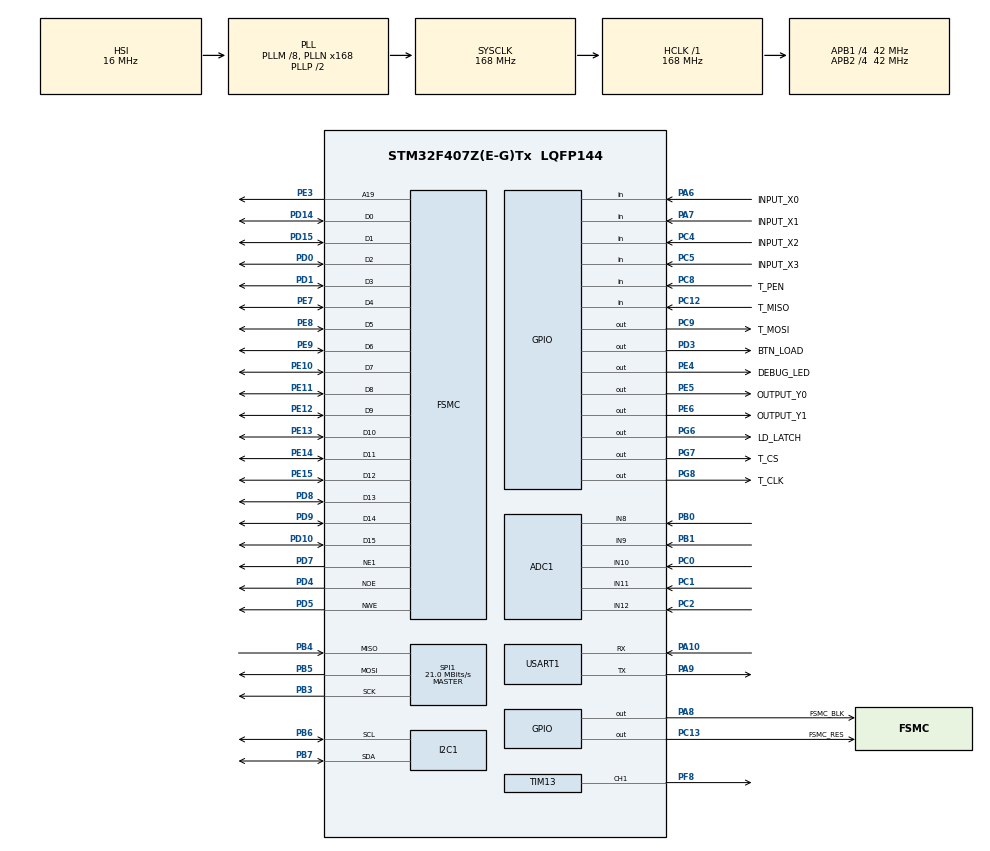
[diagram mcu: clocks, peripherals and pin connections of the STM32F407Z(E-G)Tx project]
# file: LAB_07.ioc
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ADC1.Channel-0\#ChannelRegularConversion=ADC_CHANNEL_8
ADC1.Channel-1\#ChannelRegularConversion=ADC_CHANNEL_9
ADC1.Channel-2\#ChannelRegularConversion=ADC_CHANNEL_10
ADC1.Channel-3\#ChannelRegularConversion=ADC_CHANNEL_11
ADC1.Channel-4\#ChannelRegularConversion=ADC_CHANNEL_12
ADC1.NbrOfConversion=5
ADC1.NbrOfConversionFlag=1
ADC1.Rank-0\#ChannelRegularConversion=1
ADC1.Rank-1\#ChannelRegularConversion=2
ADC1.Rank-2\#ChannelRegularConversion=3
ADC1.Rank-3\#ChannelRegularConversion=4
ADC1.Rank-4\#ChannelRegularConversion=5
ADC1.SamplingTime-0\#ChannelRegularConversion=ADC_SAMPLETIME_3CYCLES
ADC1.SamplingTime-1\#ChannelRegularConversion=ADC_SAMPLETIME_3CYCLES
ADC1.SamplingTime-2\#ChannelRegularConversion=ADC_SAMPLETIME_3CYCLES
ADC1.SamplingTime-3\#ChannelRegularConversion=ADC_SAMPLETIME_3CYCLES
ADC1.SamplingTime-4\#ChannelRegularConversion=ADC_SAMPLETIME_3CYCLES
ADC1.ScanConvMode=ENABLE
ADC1.master=1
Dma.ADC1.0.Direction=DMA_PERIPH_TO_MEMORY
Dma.ADC1.0.FIFOMode=DMA_FIFOMODE_DISABLE
Dma.ADC1.0.Instance=DMA2_Stream0
Dma.ADC1.0.MemDataAlignment=DMA_MDATAALIGN_HALFWORD
Dma.ADC1.0.MemInc=DMA_MINC_ENABLE
Dma.ADC1.0.Mode=DMA_CIRCULAR
Dma.ADC1.0.PeriphDataAlignment=DMA_PDATAALIGN_HALFWORD
Dma.ADC1.0.PeriphInc=DMA_PINC_DISABLE
Dma.ADC1.0.Priority=DMA_PRIORITY_LOW
Dma.Request0=ADC1
FSMC.AddressSetupTime1=0xf
FSMC.BusTurnAroundDuration1=0
FSMC.DataSetupTime1=60
FSMC.ExtendedAddressSetupTime1=8
FSMC.ExtendedBusTurnAroundDuration1=0
FSMC.ExtendedDataSetupTime1=9
FSMC.ExtendedMode1=FSMC_EXTENDED_MODE_ENABLE
Mcu.Family=STM32F4
Mcu.Name=STM32F407Z(E-G)Tx
Mcu.Package=LQFP144
NVIC.DMA2_Stream0_IRQn=true\:0\:0\:false\:false\:true\:false\:true
NVIC.PriorityGroup=NVIC_PRIORITYGROUP_4
NVIC.TIM2_IRQn=true\:0\:0\:false\:false\:true\:true\:true
NVIC.USART1_IRQn=true\:0\:0\:false\:false\:true\:true\:true
PA10.Mode=Asynchronous
PA10.Signal=USART1_RX
PA13.Mode=Serial_Wire
PA13.Signal=SYS_JTMS-SWDIO
PA14.Mode=Serial_Wire
PA14.Signal=SYS_JTCK-SWCLK
PA6.GPIO_Label=INPUT_X0
PA6.Signal=GPIO_Input
PA7.GPIO_Label=INPUT_X1
PA7.Signal=GPIO_Input
PA8.GPIO_Label=FSMC_BLK
PA8.Signal=GPIO_Output
PA9.Mode=Asynchronous
PA9.Signal=USART1_TX
PB0.Signal=ADCx_IN8
PB1.Signal=ADCx_IN9
PB3.Mode=Full_Duplex_Master
PB3.Signal=SPI1_SCK
PB4.Mode=Full_Duplex_Master
PB4.Signal=SPI1_MISO
PB5.Mode=Full_Duplex_Master
PB5.Signal=SPI1_MOSI
PB6.Mode=I2C
PB6.Signal=I2C1_SCL
PB7.Mode=I2C
PB7.Signal=I2C1_SDA
PC0.Signal=ADCx_IN10
PC1.Signal=ADCx_IN11
PC12.GPIO_Label=T_MISO
PC12.GPIO_PuPd=GPIO_PULLUP
PC12.Signal=GPIO_Input
PC13-ANTI_TAMP.GPIO_Label=FSMC_RES
PC13-ANTI_TAMP.Signal=GPIO_Output
PC2.Signal=ADCx_IN12
PC4.GPIO_Label=INPUT_X2
PC4.Signal=GPIO_Input
PC5.GPIO_Label=INPUT_X3
PC5.Signal=GPIO_Input
PC8.GPIO_Label=T_PEN
PC8.GPIO_PuPd=GPIO_PULLUP
PC8.Signal=GPIO_Input
PC9.GPIO_Label=T_MOSI
PC9.Signal=GPIO_Output
PD0.Signal=FSMC_D2_DA2
PD1.Signal=FSMC_D3_DA3
PD10.Signal=FSMC_D15_DA15
PD14.Signal=FSMC_D0_DA0
PD15.Signal=FSMC_D1_DA1
PD3.GPIO_Label=BTN_LOAD
PD3.Signal=GPIO_Output
PD4.Signal=FSMC_NOE
PD5.Signal=FSMC_NWE
PD7.Mode=NorPsramChipSelect1_1
PD7.Signal=FSMC_NE1
PD8.Signal=FSMC_D13_DA13
PD9.Signal=FSMC_D14_DA14
PE10.Signal=FSMC_D7_DA7
PE11.Signal=FSMC_D8_DA8
PE12.Signal=FSMC_D9_DA9
PE13.Signal=FSMC_D10_DA10
PE14.Signal=FSMC_D11_DA11
PE15.Signal=FSMC_D12_DA12
PE3.Signal=FSMC_A19
PE4.GPIO_Label=DEBUG_LED
PE4.Signal=GPIO_Output
PE5.GPIO_Label=OUTPUT_Y0
PE5.Signal=GPIO_Output
PE6.GPIO_Label=OUTPUT_Y1
PE6.Signal=GPIO_Output
PE7.Signal=FSMC_D4_DA4
PE8.Signal=FSMC_D5_DA5
PE9.Signal=FSMC_D6_DA6
PF8.Signal=S_TIM13_CH1
PG6.GPIO_Label=LD_LATCH
PG6.Signal=GPIO_Output
PG7.GPIO_Label=T_CS
PG7.Signal=GPIO_Output
PG8.GPIO_Label=T_CLK
PG8.Signal=GPIO_Output
PH0-OSC_IN.Mode=HSE-External-Oscillator
PH0-OSC_IN.Signal=RCC_OSC_IN
PH1-OSC_OUT.Mode=HSE-External-Oscillator
PH1-OSC_OUT.Signal=RCC_OSC_OUT
ProjectManager.HeapSize=0x200
ProjectManager.StackSize=0x400
ProjectManager.TargetToolchain=STM32CubeIDE
RCC.48MHZClocksFreq_Value=84000000
RCC.AHBFreq_Value=168000000
RCC.APB1CLKDivider=RCC_HCLK_DIV4
RCC.APB1Freq_Value=42000000
RCC.APB1TimFreq_Value=84000000
RCC.APB2CLKDivider=RCC_HCLK_DIV4
RCC.APB2Freq_Value=42000000
RCC.APB2TimFreq_Value=84000000
RCC.CortexFreq_Value=168000000
RCC.HCLKFreq_Value=168000000
RCC.HSE_VALUE=8000000
RCC.HSI_VALUE=16000000
RCC.LSE_VALUE=32768
RCC.PLLM=8
RCC.PLLN=168
RCC.SYSCLKFreq_VALUE=168000000
RCC.SYSCLKSource=RCC_SYSCLKSOURCE_PLLCLK
RCC.VCOOutputFreq_Value=336000000
SH.ADCx_IN10.0=ADC1_IN10,IN10
SH.ADCx_IN11.0=ADC1_IN11,IN11
SH.ADCx_IN12.0=ADC1_IN12,IN12
SH.ADCx_IN8.0=ADC1_IN8,IN8
SH.ADCx_IN9.0=ADC1_IN9,IN9
SH.FSMC_A19.0=FSMC_A19,A19_1
SH.FSMC_D0_DA0.0=FSMC_D0,16b-d1
SH.FSMC_D10_DA10.0=FSMC_D10,16b-d1
SH.FSMC_D11_DA11.0=FSMC_D11,16b-d1
SH.FSMC_D12_DA12.0=FSMC_D12,16b-d1
SH.FSMC_D13_DA13.0=FSMC_D13,16b-d1
SH.FSMC_D14_DA14.0=FSMC_D14,16b-d1
SH.FSMC_D15_DA15.0=FSMC_D15,16b-d1
SH.FSMC_D1_DA1.0=FSMC_D1,16b-d1
SH.FSMC_D2_DA2.0=FSMC_D2,16b-d1
SH.FSMC_D3_DA3.0=FSMC_D3,16b-d1
SH.FSMC_D4_DA4.0=FSMC_D4,16b-d1
SH.FSMC_D5_DA5.0=FSMC_D5,16b-d1
SH.FSMC_D6_DA6.0=FSMC_D6,16b-d1
SH.FSMC_D7_DA7.0=FSMC_D7,16b-d1
SH.FSMC_D8_DA8.0=FSMC_D8,16b-d1
SH.FSMC_D9_DA9.0=FSMC_D9,16b-d1
SH.FSMC_NOE.0=FSMC_NOE,Lcd1
SH.FSMC_NWE.0=FSMC_NWE,Lcd1
SH.S_TIM13_CH1.0=TIM13_CH1,PWM Generation1 CH1
SPI1.CalculateBaudRate=21.0 MBits/s
SPI1.Direction=SPI_DIRECTION_2LINES
SPI1.Mode=SPI_MODE_MASTER
SPI1.VirtualType=VM_MASTER
TIM1.Prescaler=84-1
TIM13.Channel=TIM_CHANNEL_1
TIM13.Period=100-1
TIM13.Prescaler=840-1
TIM2.Period=100-1
TIM2.Prescaler=840-1
USART1.VirtualMode=VM_ASYNC
VP_TIM13_VS_ClockSourceINT.Mode=Enable_Timer
VP_TIM1_VS_ClockSourceINT.Mode=Internal
VP_TIM2_VS_ClockSourceINT.Mode=Internal
board=custom

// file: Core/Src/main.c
/* USER CODE BEGIN Header */
/**
  ******************************************************************************
  * @file           : main.c
  * @brief          : Main program body
  ******************************************************************************
  * @attention
  *
  * <h2><center>&copy; Copyright (c) 2025 STMicroelectronics.
  * All rights reserved.</center></h2>
  *
  * This software component is licensed by ST under BSD 3-Clause license,
  * the "License"; You may not use this file except in compliance with the
  * License. You may obtain a copy of the License at:
  *                        opensource.org/licenses/BSD-3-Clause
  *
  ******************************************************************************
  */
/* USER CODE END Header */
#include "main.h"

/* USER CODE BEGIN Includes */
#include "software_timer.h"
#include "led_7seg.h"
#include "button.h"
#include "lcd.h"
#include "picture.h"
#include "ds3231.h"
#include "uart.h"
#include "sensor.h"
#include "buzzer.h"
#include "touch.h"
#include <stdio.h>
#include <stdlib.h>
#include <time.h>
/* USER CODE END Includes */

/* USER CODE BEGIN PD */
// Game States
#define GAME_MENU 0
#define GAME_PLAYING 1
#define GAME_OVER 2

// Screen dimensions (LCD ILI9341: 240x320)
#define SCREEN_WIDTH 240
#define SCREEN_HEIGHT 320
#define GAME_AREA_TOP 70
#define GAME_AREA_BOTTOM 310
#define GAME_AREA_HEIGHT (GAME_AREA_BOTTOM - GAME_AREA_TOP)

// Snake settings
#define SNAKE_BLOCK_SIZE 6
#define MAX_SNAKE_LENGTH 200
#define INITIAL_SNAKE_LENGTH 3

// Grid size
#define GRID_WIDTH (SCREEN_WIDTH / SNAKE_BLOCK_SIZE)
#define GRID_HEIGHT (GAME_AREA_HEIGHT / SNAKE_BLOCK_SIZE)

// Directions
#define DIR_UP 0
#define DIR_DOWN 1
#define DIR_LEFT 2
#define DIR_RIGHT 3

// Button positions for menu
#define BTN_START_X1 60
#define BTN_START_Y1 140
#define BTN_START_X2 180
#define BTN_START_Y2 180

// Control buttons positions (top area)
#define BTN_UP_X 105
#define BTN_UP_Y 5
#define BTN_DOWN_X 105
#define BTN_DOWN_Y 40
#define BTN_LEFT_X 75
#define BTN_LEFT_Y 22
#define BTN_RIGHT_X 135
#define BTN_RIGHT_Y 22

#define BTN_SIZE 25

// Score position
#define SCORE_X 180
#define SCORE_Y 45

// Game state
typedef struct {
    uint8_t x;
    uint8_t y;
} Point;

typedef struct {
    Point body[MAX_SNAKE_LENGTH];
    uint16_t length;
    uint8_t direction;
    uint8_t next_direction;
} Snake;

typedef struct {
    Point position;
    uint8_t active;
} Food;

typedef struct {
    Snake snake;
    Food food;
    uint16_t score;
    uint8_t state;
    uint8_t game_speed;
} Game;

Game game;

/* USER CODE END PD */

ADC_HandleTypeDef hadc1;
DMA_HandleTypeDef hdma_adc1;

I2C_HandleTypeDef hi2c1;

SPI_HandleTypeDef hspi1;

TIM_HandleTypeDef htim1;
TIM_HandleTypeDef htim2;
TIM_HandleTypeDef htim13;

UART_HandleTypeDef huart1;

SRAM_HandleTypeDef hsram1;

void SystemClock_Config(void);
static void MX_GPIO_Init(void);
static void MX_SPI1_Init(void);
static void MX_TIM2_Init(void);
static void MX_FSMC_Init(void);
static void MX_DMA_Init(void);
static void MX_ADC1_Init(void);
static void MX_I2C1_Init(void);
static void MX_TIM13_Init(void);
static void MX_USART1_UART_Init(void);
static void MX_TIM1_Init(void);
/* USER CODE BEGIN PFP */
void system_init();
void test_LedDebug();

// Snake game functions
void game_init();
void game_reset();
void game_draw_menu();
void game_draw_controls();
void game_draw_score();
void game_update();
void game_draw();
void snake_move();
uint8_t snake_check_collision();
void food_generate();
void food_draw();
uint8_t is_button_pressed(uint16_t x1, uint16_t y1, uint16_t x2, uint16_t y2);
void handle_touch_input();

/* USER CODE END PFP */

int main(void)
{

  /* MCU Configuration--------------------------------------------------------*/

  /* Reset of all peripherals, Initializes the Flash interface and the Systick. */
  HAL_Init();

  /* Configure the system clock */
  SystemClock_Config();

  /* Initialize all configured peripherals */
  MX_GPIO_Init();
  MX_SPI1_Init();
  MX_TIM2_Init();
  MX_FSMC_Init();
  MX_DMA_Init();
  MX_ADC1_Init();
  MX_I2C1_Init();
  MX_TIM13_Init();
  MX_USART1_UART_Init();
  MX_TIM1_Init();
  /* USER CODE BEGIN 2 */
  system_init();
  game_init();
  /* USER CODE END 2 */

  /* Infinite loop */
  /* USER CODE BEGIN WHILE */
  touch_Adjust();
  lcd_Clear(BLACK);
  game_draw_menu();

  while (1)
  {
	  // Scan touch screen
	  touch_Scan();

	  // Handle touch input
	  handle_touch_input();

	  // 50ms task
	  if(flag_timer2 == 1){
		  flag_timer2 = 0;
		  test_LedDebug();
	  }

	  // Game update (150ms for game speed)
	  if(flag_timer3 == 1){
		  flag_timer3 = 0;
		  if(game.state == GAME_PLAYING){
			  game_update();
			  game_draw();
		  }
	  }
    /* USER CODE END WHILE */

  }
}

void SystemClock_Config(void)
{
  RCC_OscInitTypeDef RCC_OscInitStruct = {0};
  RCC_ClkInitTypeDef RCC_ClkInitStruct = {0};

  /** Configure the main internal regulator output voltage
  */
  __HAL_RCC_PWR_CLK_ENABLE();
  __HAL_PWR_VOLTAGESCALING_CONFIG(PWR_REGULATOR_VOLTAGE_SCALE1);
  /** Initializes the RCC Oscillators according to the specified parameters
  * in the RCC_OscInitTypeDef structure.
  */
  RCC_OscInitStruct.OscillatorType = RCC_OSCILLATORTYPE_HSI;
  RCC_OscInitStruct.HSIState = RCC_HSI_ON;
  RCC_OscInitStruct.HSICalibrationValue = RCC_HSICALIBRATION_DEFAULT;
  RCC_OscInitStruct.PLL.PLLState = RCC_PLL_ON;
  RCC_OscInitStruct.PLL.PLLSource = RCC_PLLSOURCE_HSI;
  RCC_OscInitStruct.PLL.PLLM = 8;
  RCC_OscInitStruct.PLL.PLLN = 168;
  RCC_OscInitStruct.PLL.PLLP = RCC_PLLP_DIV2;
  RCC_OscInitStruct.PLL.PLLQ = 4;
  if (HAL_RCC_OscConfig(&RCC_OscInitStruct) != HAL_OK)
  {
    Error_Handler();
  }
  /** Initializes the CPU, AHB and APB buses clocks
  */
  RCC_ClkInitStruct.ClockType = RCC_CLOCKTYPE_HCLK|RCC_CLOCKTYPE_SYSCLK
                              |RCC_CLOCKTYPE_PCLK1|RCC_CLOCKTYPE_PCLK2;
  RCC_ClkInitStruct.SYSCLKSource = RCC_SYSCLKSOURCE_PLLCLK;
  RCC_ClkInitStruct.AHBCLKDivider = RCC_SYSCLK_DIV1;
  RCC_ClkInitStruct.APB1CLKDivider = RCC_HCLK_DIV4;
  RCC_ClkInitStruct.APB2CLKDivider = RCC_HCLK_DIV4;

  if (HAL_RCC_ClockConfig(&RCC_ClkInitStruct, FLASH_LATENCY_5) != HAL_OK)
  {
    Error_Handler();
  }
}

static void MX_ADC1_Init(void)
{

  ADC_ChannelConfTypeDef sConfig = {0};

  /** Configure the global features of the ADC (Clock, Resolution, Data Alignment and number of conversion)
  */
  hadc1.Instance = ADC1;
  hadc1.Init.ClockPrescaler = ADC_CLOCK_SYNC_PCLK_DIV2;
  hadc1.Init.Resolution = ADC_RESOLUTION_12B;
  hadc1.Init.ScanConvMode = ENABLE;
  hadc1.Init.ContinuousConvMode = DISABLE;
  hadc1.Init.DiscontinuousConvMode = DISABLE;
  hadc1.Init.ExternalTrigConvEdge = ADC_EXTERNALTRIGCONVEDGE_NONE;
  hadc1.Init.ExternalTrigConv = ADC_SOFTWARE_START;
  hadc1.Init.DataAlign = ADC_DATAALIGN_RIGHT;
  hadc1.Init.NbrOfConversion = 5;
  hadc1.Init.DMAContinuousRequests = DISABLE;
  hadc1.Init.EOCSelection = ADC_EOC_SINGLE_CONV;
  if (HAL_ADC_Init(&hadc1) != HAL_OK)
  {
    Error_Handler();
  }
  /** Configure for the selected ADC regular channel its corresponding rank in the sequencer and its sample time.
  */
  sConfig.Channel = ADC_CHANNEL_8;
  sConfig.Rank = 1;
  sConfig.SamplingTime = ADC_SAMPLETIME_3CYCLES;
  if (HAL_ADC_ConfigChannel(&hadc1, &sConfig) != HAL_OK)
  {
    Error_Handler();
  }
  /** Configure for the selected ADC regular channel its corresponding rank in the sequencer and its sample time.
  */
  sConfig.Channel = ADC_CHANNEL_9;
  sConfig.Rank = 2;
  if (HAL_ADC_ConfigChannel(&hadc1, &sConfig) != HAL_OK)
  {
    Error_Handler();
  }
  /** Configure for the selected ADC regular channel its corresponding rank in the sequencer and its sample time.
  */
  sConfig.Channel = ADC_CHANNEL_10;
  sConfig.Rank = 3;
  if (HAL_ADC_ConfigChannel(&hadc1, &sConfig) != HAL_OK)
  {
    Error_Handler();
  }
  /** Configure for the selected ADC regular channel its corresponding rank in the sequencer and its sample time.
  */
  sConfig.Channel = ADC_CHANNEL_11;
  sConfig.Rank = 4;
  if (HAL_ADC_ConfigChannel(&hadc1, &sConfig) != HAL_OK)
  {
    Error_Handler();
  }
  /** Configure for the selected ADC regular channel its corresponding rank in the sequencer and its sample time.
  */
  sConfig.Channel = ADC_CHANNEL_12;
  sConfig.Rank = 5;
  if (HAL_ADC_ConfigChannel(&hadc1, &sConfig) != HAL_OK)
  {
    Error_Handler();
  }

}

static void MX_I2C1_Init(void)
{

  hi2c1.Instance = I2C1;
  hi2c1.Init.ClockSpeed = 100000;
  hi2c1.Init.DutyCycle = I2C_DUTYCYCLE_2;
  hi2c1.Init.OwnAddress1 = 0;
  hi2c1.Init.AddressingMode = I2C_ADDRESSINGMODE_7BIT;
  hi2c1.Init.DualAddressMode = I2C_DUALADDRESS_DISABLE;
  hi2c1.Init.OwnAddress2 = 0;
  hi2c1.Init.GeneralCallMode = I2C_GENERALCALL_DISABLE;
  hi2c1.Init.NoStretchMode = I2C_NOSTRETCH_DISABLE;
  if (HAL_I2C_Init(&hi2c1) != HAL_OK)
  {
    Error_Handler();
  }

}

static void MX_SPI1_Init(void)
{

  /* SPI1 parameter configuration*/
  hspi1.Instance = SPI1;
  hspi1.Init.Mode = SPI_MODE_MASTER;
  hspi1.Init.Direction = SPI_DIRECTION_2LINES;
  hspi1.Init.DataSize = SPI_DATASIZE_8BIT;
  hspi1.Init.CLKPolarity = SPI_POLARITY_LOW;
  hspi1.Init.CLKPhase = SPI_PHASE_1EDGE;
  hspi1.Init.NSS = SPI_NSS_SOFT;
  hspi1.Init.BaudRatePrescaler = SPI_BAUDRATEPRESCALER_2;
  hspi1.Init.FirstBit = SPI_FIRSTBIT_MSB;
  hspi1.Init.TIMode = SPI_TIMODE_DISABLE;
  hspi1.Init.CRCCalculation = SPI_CRCCALCULATION_DISABLE;
  hspi1.Init.CRCPolynomial = 10;
  if (HAL_SPI_Init(&hspi1) != HAL_OK)
  {
    Error_Handler();
  }

}

static void MX_TIM1_Init(void)
{

  TIM_ClockConfigTypeDef sClockSourceConfig = {0};
  TIM_MasterConfigTypeDef sMasterConfig = {0};

  htim1.Instance = TIM1;
  htim1.Init.Prescaler = 84-1;
  htim1.Init.CounterMode = TIM_COUNTERMODE_UP;
  htim1.Init.Period = 65535;
  htim1.Init.ClockDivision = TIM_CLOCKDIVISION_DIV1;
  htim1.Init.RepetitionCounter = 0;
  htim1.Init.AutoReloadPreload = TIM_AUTORELOAD_PRELOAD_DISABLE;
  if (HAL_TIM_Base_Init(&htim1) != HAL_OK)
  {
    Error_Handler();
  }
  sClockSourceConfig.ClockSource = TIM_CLOCKSOURCE_INTERNAL;
  if (HAL_TIM_ConfigClockSource(&htim1, &sClockSourceConfig) != HAL_OK)
  {
    Error_Handler();
  }
  sMasterConfig.MasterOutputTrigger = TIM_TRGO_RESET;
  sMasterConfig.MasterSlaveMode = TIM_MASTERSLAVEMODE_DISABLE;
  if (HAL_TIMEx_MasterConfigSynchronization(&htim1, &sMasterConfig) != HAL_OK)
  {
    Error_Handler();
  }

}

static void MX_TIM2_Init(void)
{

  TIM_ClockConfigTypeDef sClockSourceConfig = {0};
  TIM_MasterConfigTypeDef sMasterConfig = {0};

  htim2.Instance = TIM2;
  htim2.Init.Prescaler = 840-1;
  htim2.Init.CounterMode = TIM_COUNTERMODE_UP;
  htim2.Init.Period = 100-1;
  htim2.Init.ClockDivision = TIM_CLOCKDIVISION_DIV1;
  htim2.Init.AutoReloadPreload = TIM_AUTORELOAD_PRELOAD_DISABLE;
  if (HAL_TIM_Base_Init(&htim2) != HAL_OK)
  {
    Error_Handler();
  }
  sClockSourceConfig.ClockSource = TIM_CLOCKSOURCE_INTERNAL;
  if (HAL_TIM_ConfigClockSource(&htim2, &sClockSourceConfig) != HAL_OK)
  {
    Error_Handler();
  }
  sMasterConfig.MasterOutputTrigger = TIM_TRGO_RESET;
  sMasterConfig.MasterSlaveMode = TIM_MASTERSLAVEMODE_DISABLE;
  if (HAL_TIMEx_MasterConfigSynchronization(&htim2, &sMasterConfig) != HAL_OK)
  {
    Error_Handler();
  }

}

static void MX_TIM13_Init(void)
{

  TIM_OC_InitTypeDef sConfigOC = {0};

  htim13.Instance = TIM13;
  htim13.Init.Prescaler = 840-1;
  htim13.Init.CounterMode = TIM_COUNTERMODE_UP;
  htim13.Init.Period = 100-1;
  htim13.Init.ClockDivision = TIM_CLOCKDIVISION_DIV1;
  htim13.Init.AutoReloadPreload = TIM_AUTORELOAD_PRELOAD_DISABLE;
  if (HAL_TIM_Base_Init(&htim13) != HAL_OK)
  {
    Error_Handler();
  }
  if (HAL_TIM_PWM_Init(&htim13) != HAL_OK)
  {
    Error_Handler();
  }
  sConfigOC.OCMode = TIM_OCMODE_PWM1;
  sConfigOC.Pulse = 0;
  sConfigOC.OCPolarity = TIM_OCPOLARITY_HIGH;
  sConfigOC.OCFastMode = TIM_OCFAST_DISABLE;
  if (HAL_TIM_PWM_ConfigChannel(&htim13, &sConfigOC, TIM_CHANNEL_1) != HAL_OK)
  {
    Error_Handler();
  }
  HAL_TIM_MspPostInit(&htim13);

}

static void MX_USART1_UART_Init(void)
{

  huart1.Instance = USART1;
  huart1.Init.BaudRate = 115200;
  huart1.Init.WordLength = UART_WORDLENGTH_8B;
  huart1.Init.StopBits = UART_STOPBITS_1;
  huart1.Init.Parity = UART_PARITY_NONE;
  huart1.Init.Mode = UART_MODE_TX_RX;
  huart1.Init.HwFlowCtl = UART_HWCONTROL_NONE;
  huart1.Init.OverSampling = UART_OVERSAMPLING_16;
  if (HAL_UART_Init(&huart1) != HAL_OK)
  {
    Error_Handler();
  }

}

static void MX_DMA_Init(void)
{

  /* DMA controller clock enable */
  __HAL_RCC_DMA2_CLK_ENABLE();

  /* DMA interrupt init */
  /* DMA2_Stream0_IRQn interrupt configuration */
  HAL_NVIC_SetPriority(DMA2_Stream0_IRQn, 0, 0);
  HAL_NVIC_EnableIRQ(DMA2_Stream0_IRQn);

}

static void MX_GPIO_Init(void)
{
  GPIO_InitTypeDef GPIO_InitStruct = {0};

  /* GPIO Ports Clock Enable */
  __HAL_RCC_GPIOE_CLK_ENABLE();
  __HAL_RCC_GPIOC_CLK_ENABLE();
  __HAL_RCC_GPIOF_CLK_ENABLE();
  __HAL_RCC_GPIOH_CLK_ENABLE();
  __HAL_RCC_GPIOA_CLK_ENABLE();
  __HAL_RCC_GPIOB_CLK_ENABLE();
  __HAL_RCC_GPIOD_CLK_ENABLE();
  __HAL_RCC_GPIOG_CLK_ENABLE();

  /*Configure GPIO pin Output Level */
  HAL_GPIO_WritePin(GPIOE, DEBUG_LED_Pin|OUTPUT_Y0_Pin|OUTPUT_Y1_Pin, GPIO_PIN_RESET);

  /*Configure GPIO pin Output Level */
  HAL_GPIO_WritePin(GPIOC, FSMC_RES_Pin|T_MOSI_Pin, GPIO_PIN_RESET);

  /*Configure GPIO pin Output Level */
  HAL_GPIO_WritePin(GPIOG, LD_LATCH_Pin|T_CS_Pin|T_CLK_Pin, GPIO_PIN_RESET);

  /*Configure GPIO pin Output Level */
  HAL_GPIO_WritePin(FSMC_BLK_GPIO_Port, FSMC_BLK_Pin, GPIO_PIN_RESET);

  /*Configure GPIO pin Output Level */
  HAL_GPIO_WritePin(BTN_LOAD_GPIO_Port, BTN_LOAD_Pin, GPIO_PIN_RESET);

  /*Configure GPIO pins : DEBUG_LED_Pin OUTPUT_Y0_Pin OUTPUT_Y1_Pin */
  GPIO_InitStruct.Pin = DEBUG_LED_Pin|OUTPUT_Y0_Pin|OUTPUT_Y1_Pin;
  GPIO_InitStruct.Mode = GPIO_MODE_OUTPUT_PP;
  GPIO_InitStruct.Pull = GPIO_NOPULL;
  GPIO_InitStruct.Speed = GPIO_SPEED_FREQ_LOW;
  HAL_GPIO_Init(GPIOE, &GPIO_InitStruct);

  /*Configure GPIO pins : FSMC_RES_Pin T_MOSI_Pin */
  GPIO_InitStruct.Pin = FSMC_RES_Pin|T_MOSI_Pin;
  GPIO_InitStruct.Mode = GPIO_MODE_OUTPUT_PP;
  GPIO_InitStruct.Pull = GPIO_NOPULL;
  GPIO_InitStruct.Speed = GPIO_SPEED_FREQ_LOW;
  HAL_GPIO_Init(GPIOC, &GPIO_InitStruct);

  /*Configure GPIO pins : INPUT_X0_Pin INPUT_X1_Pin */
  GPIO_InitStruct.Pin = INPUT_X0_Pin|INPUT_X1_Pin;
  GPIO_InitStruct.Mode = GPIO_MODE_INPUT;
  GPIO_InitStruct.Pull = GPIO_NOPULL;
  HAL_GPIO_Init(GPIOA, &GPIO_InitStruct);

  /*Configure GPIO pins : INPUT_X2_Pin INPUT_X3_Pin */
  GPIO_InitStruct.Pin = INPUT_X2_Pin|INPUT_X3_Pin;
  GPIO_InitStruct.Mode = GPIO_MODE_INPUT;
  GPIO_InitStruct.Pull = GPIO_NOPULL;
  HAL_GPIO_Init(GPIOC, &GPIO_InitStruct);

  /*Configure GPIO pins : LD_LATCH_Pin T_CS_Pin T_CLK_Pin */
  GPIO_InitStruct.Pin = LD_LATCH_Pin|T_CS_Pin|T_CLK_Pin;
  GPIO_InitStruct.Mode = GPIO_MODE_OUTPUT_PP;
  GPIO_InitStruct.Pull = GPIO_NOPULL;
  GPIO_InitStruct.Speed = GPIO_SPEED_FREQ_LOW;
  HAL_GPIO_Init(GPIOG, &GPIO_InitStruct);

  /*Configure GPIO pins : T_PEN_Pin T_MISO_Pin */
  GPIO_InitStruct.Pin = T_PEN_Pin|T_MISO_Pin;
  GPIO_InitStruct.Mode = GPIO_MODE_INPUT;
  GPIO_InitStruct.Pull = GPIO_PULLUP;
  HAL_GPIO_Init(GPIOC, &GPIO_InitStruct);

  /*Configure GPIO pin : FSMC_BLK_Pin */
  GPIO_InitStruct.Pin = FSMC_BLK_Pin;
  GPIO_InitStruct.Mode = GPIO_MODE_OUTPUT_PP;
  GPIO_InitStruct.Pull = GPIO_NOPULL;
  GPIO_InitStruct.Speed = GPIO_SPEED_FREQ_LOW;
  HAL_GPIO_Init(FSMC_BLK_GPIO_Port, &GPIO_InitStruct);

  /*Configure GPIO pin : BTN_LOAD_Pin */
  GPIO_InitStruct.Pin = BTN_LOAD_Pin;
  GPIO_InitStruct.Mode = GPIO_MODE_OUTPUT_PP;
  GPIO_InitStruct.Pull = GPIO_NOPULL;
  GPIO_InitStruct.Speed = GPIO_SPEED_FREQ_LOW;
  HAL_GPIO_Init(BTN_LOAD_GPIO_Port, &GPIO_InitStruct);

}

/* FSMC initialization function */
static void MX_FSMC_Init(void)
{

  FSMC_NORSRAM_TimingTypeDef Timing = {0};
  FSMC_NORSRAM_TimingTypeDef ExtTiming = {0};

  /** Perform the SRAM1 memory initialization sequence
  */
  hsram1.Instance = FSMC_NORSRAM_DEVICE;
  hsram1.Extended = FSMC_NORSRAM_EXTENDED_DEVICE;
  /* hsram1.Init */
  hsram1.Init.NSBank = FSMC_NORSRAM_BANK1;
  hsram1.Init.DataAddressMux = FSMC_DATA_ADDRESS_MUX_DISABLE;
  hsram1.Init.MemoryType = FSMC_MEMORY_TYPE_SRAM;
  hsram1.Init.MemoryDataWidth = FSMC_NORSRAM_MEM_BUS_WIDTH_16;
  hsram1.Init.BurstAccessMode = FSMC_BURST_ACCESS_MODE_DISABLE;
  hsram1.Init.WaitSignalPolarity = FSMC_WAIT_SIGNAL_POLARITY_LOW;
  hsram1.Init.WrapMode = FSMC_WRAP_MODE_DISABLE;
  hsram1.Init.WaitSignalActive = FSMC_WAIT_TIMING_BEFORE_WS;
  hsram1.Init.WriteOperation = FSMC_WRITE_OPERATION_ENABLE;
  hsram1.Init.WaitSignal = FSMC_WAIT_SIGNAL_DISABLE;
  hsram1.Init.ExtendedMode = FSMC_EXTENDED_MODE_ENABLE;
  hsram1.Init.AsynchronousWait = FSMC_ASYNCHRONOUS_WAIT_DISABLE;
  hsram1.Init.WriteBurst = FSMC_WRITE_BURST_DISABLE;
  hsram1.Init.PageSize = FSMC_PAGE_SIZE_NONE;
  /* Timing */
  Timing.AddressSetupTime = 0xf;
  Timing.AddressHoldTime = 15;
  Timing.DataSetupTime = 60;
  Timing.BusTurnAroundDuration = 0;
  Timing.CLKDivision = 16;
  Timing.DataLatency = 17;
  Timing.AccessMode = FSMC_ACCESS_MODE_A;
  /* ExtTiming */
  ExtTiming.AddressSetupTime = 8;
  ExtTiming.AddressHoldTime = 15;
  ExtTiming.DataSetupTime = 9;
  ExtTiming.BusTurnAroundDuration = 0;
  ExtTiming.CLKDivision = 16;
  ExtTiming.DataLatency = 17;
  ExtTiming.AccessMode = FSMC_ACCESS_MODE_A;

  if (HAL_SRAM_Init(&hsram1, &Timing, &ExtTiming) != HAL_OK)
  {
    Error_Handler( );
  }

}

/* USER CODE BEGIN 4 */
void system_init(){
	timer_init();
	button_init();
	lcd_init();
	touch_init();
	setTimer2(50);
	setTimer3(150); // Game update timer
}

uint8_t count_led_debug = 0;

void test_LedDebug(){
	count_led_debug = (count_led_debug + 1)%20;
	if(count_led_debug == 0){
		HAL_GPIO_TogglePin(DEBUG_LED_GPIO_Port, DEBUG_LED_Pin);
	}
}

// ==================== SNAKE GAME IMPLEMENTATION ====================

void game_init(){
	game.state = GAME_MENU;
	game.score = 0;
	game.game_speed = 150;
}

void game_reset(){
	// Initialize snake in the center
	game.snake.length = INITIAL_SNAKE_LENGTH;
	game.snake.direction = DIR_RIGHT;
	game.snake.next_direction = DIR_RIGHT;

	uint8_t start_x = GRID_WIDTH / 2;
	uint8_t start_y = GRID_HEIGHT / 2;

	for(int i = 0; i < INITIAL_SNAKE_LENGTH; i++){
		game.snake.body[i].x = start_x - i;
		game.snake.body[i].y = start_y;
	}

	game.score = 0;
	game.food.active = 0;
	food_generate();
}

void game_draw_menu(){
	lcd_Clear(BLACK);

	// Title
	lcd_ShowStr(50, 80, "SNAKE GAME", WHITE, BLACK, 24, 1);

	// Start button
	lcd_Fill(BTN_START_X1, BTN_START_Y1, BTN_START_X2, BTN_START_Y2, GREEN);
	lcd_ShowStr(BTN_START_X1 + 25, BTN_START_Y1 + 12, "START", BLACK, GREEN, 16, 1);

	// Instructions
	lcd_ShowStr(15, 220, "Touch controls to play", WHITE, BLACK, 16, 1);
}

void game_draw_controls(){
	// Draw control buttons with borders
	// UP button
	lcd_DrawRectangle(BTN_UP_X, BTN_UP_Y, BTN_UP_X + BTN_SIZE, BTN_UP_Y + BTN_SIZE, CYAN);
	lcd_ShowStr(BTN_UP_X + 5, BTN_UP_Y + 5, "U", WHITE, BLACK, 16, 1);

	// DOWN button
	lcd_DrawRectangle(BTN_DOWN_X, BTN_DOWN_Y, BTN_DOWN_X + BTN_SIZE, BTN_DOWN_Y + BTN_SIZE, CYAN);
	lcd_ShowStr(BTN_DOWN_X + 5, BTN_DOWN_Y + 5, "D", WHITE, BLACK, 16, 1);

	// LEFT button
	lcd_DrawRectangle(BTN_LEFT_X, BTN_LEFT_Y, BTN_LEFT_X + BTN_SIZE, BTN_LEFT_Y + BTN_SIZE, CYAN);
	lcd_ShowStr(BTN_LEFT_X + 5, BTN_LEFT_Y + 5, "L", WHITE, BLACK, 16, 1);

	// RIGHT button
	lcd_DrawRectangle(BTN_RIGHT_X, BTN_RIGHT_Y, BTN_RIGHT_X + BTN_SIZE, BTN_RIGHT_Y + BTN_SIZE, CYAN);
	lcd_ShowStr(BTN_RIGHT_X + 5, BTN_RIGHT_Y + 5, "R", WHITE, BLACK, 16, 1);
}

void game_draw_score(){
	char score_str[20];
	sprintf(score_str, "S:%d", game.score);
	lcd_Fill(SCORE_X, SCORE_Y, 235, SCORE_Y + 16, BLACK);
	lcd_ShowStr(SCORE_X, SCORE_Y, score_str, YELLOW, BLACK, 16, 1);
}

void food_generate(){
	if(game.food.active) return;

	// Generate random position
	uint8_t valid = 0;
	while(!valid){
		game.food.position.x = rand() % GRID_WIDTH;
		game.food.position.y = rand() % GRID_HEIGHT;

		// Check if food overlaps with snake
		valid = 1;
		for(int i = 0; i < game.snake.length; i++){
			if(game.snake.body[i].x == game.food.position.x &&
			   game.snake.body[i].y == game.food.position.y){
				valid = 0;
				break;
			}
		}
	}

	game.food.active = 1;
}

void food_draw(){
	if(game.food.active){
		uint16_t x = game.food.position.x * SNAKE_BLOCK_SIZE;
		uint16_t y = game.food.position.y * SNAKE_BLOCK_SIZE + GAME_AREA_TOP;
		lcd_Fill(x, y, x + SNAKE_BLOCK_SIZE - 1, y + SNAKE_BLOCK_SIZE - 1, RED);
	}
}

void snake_move(){
	// Update direction
	game.snake.direction = game.snake.next_direction;

	// Move body
	for(int i = game.snake.length - 1; i > 0; i--){
		game.snake.body[i] = game.snake.body[i-1];
	}

	// Move head
	switch(game.snake.direction){
		case DIR_UP:
			game.snake.body[0].y--;
			break;
		case DIR_DOWN:
			game.snake.body[0].y++;
			break;
		case DIR_LEFT:
			game.snake.body[0].x--;
			break;
		case DIR_RIGHT:
			game.snake.body[0].x++;
			break;
	}
}

uint8_t snake_check_collision(){
	Point head = game.snake.body[0];

	// Check wall collision
	if(head.x >= GRID_WIDTH || head.y >= GRID_HEIGHT){
		return 1;
	}

	// Check self collision
	for(int i = 1; i < game.snake.length; i++){
		if(game.snake.body[i].x == head.x && game.snake.body[i].y == head.y){
			return 1;
		}
	}

	return 0;
}

void game_update(){
	snake_move();

	// Check collision
	if(snake_check_collision()){
		game.state = GAME_OVER;
		lcd_Fill(40, 130, 200, 160, RED);
		lcd_ShowStr(55, 137, "GAME OVER!", WHITE, RED, 16, 1);
		char final_score[30];
		sprintf(final_score, "Score: %d", game.score);
		lcd_ShowStr(65, 180, final_score, YELLOW, BLACK, 16, 1);
		lcd_ShowStr(30, 220, "Touch to restart", WHITE, BLACK, 16, 1);
		return;
	}

	// Check food collision
	Point head = game.snake.body[0];
	if(game.food.active && head.x == game.food.position.x && head.y == game.food.position.y){
		// Eat food
		game.score += 10;
		game.food.active = 0;

		// Grow snake
		if(game.snake.length < MAX_SNAKE_LENGTH){
			game.snake.body[game.snake.length] = game.snake.body[game.snake.length - 1];
			game.snake.length++;
		}

		food_generate();
		game_draw_score();
	}
}

void game_draw(){
	// Clear game area (keep controls visible)
	lcd_Fill(0, GAME_AREA_TOP, SCREEN_WIDTH, GAME_AREA_BOTTOM, BLACK);

	// Draw snake
	for(int i = 0; i < game.snake.length; i++){
		uint16_t x = game.snake.body[i].x * SNAKE_BLOCK_SIZE;
		uint16_t y = game.snake.body[i].y * SNAKE_BLOCK_SIZE + GAME_AREA_TOP;
		uint16_t color = (i == 0) ? YELLOW : GREEN; // Head is yellow, body is green
		lcd_Fill(x, y, x + SNAKE_BLOCK_SIZE - 1, y + SNAKE_BLOCK_SIZE - 1, color);
	}

	// Draw food
	food_draw();
}

uint8_t is_button_pressed(uint16_t x1, uint16_t y1, uint16_t x2, uint16_t y2){
	if(!touch_IsTouched()) return 0;
	uint16_t x = touch_GetX();
	uint16_t y = touch_GetY();
	return (x >= x1 && x <= x2 && y >= y1 && y <= y2);
}

void handle_touch_input(){
	if(!touch_IsTouched()) return;

	switch(game.state){
		case GAME_MENU:
			// Check start button
			if(is_button_pressed(BTN_START_X1, BTN_START_Y1, BTN_START_X2, BTN_START_Y2)){
				game.state = GAME_PLAYING;
				game_reset();
				lcd_Clear(BLACK);
				game_draw_controls();
				game_draw_score();
				game_draw();
			}
			break;

		case GAME_PLAYING:
			// UP button
			if(is_button_pressed(BTN_UP_X, BTN_UP_Y, BTN_UP_X + BTN_SIZE, BTN_UP_Y + BTN_SIZE)){
				if(game.snake.direction != DIR_DOWN){
					game.snake.next_direction = DIR_UP;
				}
			}
			// DOWN button
			else if(is_button_pressed(BTN_DOWN_X, BTN_DOWN_Y, BTN_DOWN_X + BTN_SIZE, BTN_DOWN_Y + BTN_SIZE)){
				if(game.snake.direction != DIR_UP){
					game.snake.next_direction = DIR_DOWN;
				}
			}
			// LEFT button
			else if(is_button_pressed(BTN_LEFT_X, BTN_LEFT_Y, BTN_LEFT_X + BTN_SIZE, BTN_LEFT_Y + BTN_SIZE)){
				if(game.snake.direction != DIR_RIGHT){
					game.snake.next_direction = DIR_LEFT;
				}
			}
			// RIGHT button
			else if(is_button_pressed(BTN_RIGHT_X, BTN_RIGHT_Y, BTN_RIGHT_X + BTN_SIZE, BTN_RIGHT_Y + BTN_SIZE)){
				if(game.snake.direction != DIR_LEFT){
					game.snake.next_direction = DIR_RIGHT;
				}
			}
			break;

		case GAME_OVER:
			// Touch anywhere to restart
			HAL_Delay(500); // Debounce
			game.state = GAME_MENU;
			game_draw_menu();
			break;
	}
}

/* USER CODE END 4 */

void Error_Handler(void)
{
  __disable_irq();
  while (1)
  {
  }
}

/************************ (C) COPYRIGHT STMicroelectronics *****END OF FILE****/
